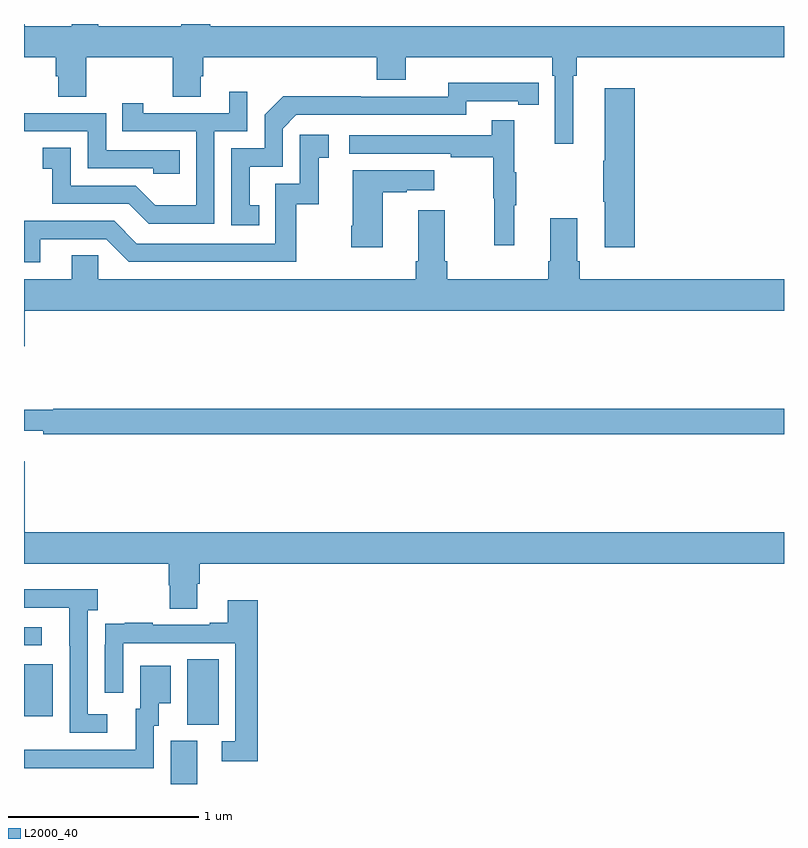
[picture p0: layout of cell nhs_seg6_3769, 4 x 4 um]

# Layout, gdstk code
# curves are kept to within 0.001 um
import gdstk
lib = gdstk.Library(unit=1e-6, precision=1e-09)
def R(c, l, rs):  # rectangles x0, y0, x1, y1
    for r in rs: c.add(gdstk.rectangle(r[:2], r[2:], *l))
def P(c, l, *ps):  # polygons
    for p in ps: c.add(gdstk.Polygon(p, *l))
L2000_40 = (2000, 40)

nhs_seg6_3769 = lib.new_cell('nhs_seg6_3769')
R(nhs_seg6_3769, L2000_40, [(333.773,955.5,333.913,955.728), (333.86,955.813,334.024,956.156), (333,955.857,333.151,956.131), (333,956.229,333.094,956.325)])
P(nhs_seg6_3769, L2000_40, [(335.89,959.228),(335.909,959.228),(335.909,959.324),(337,959.324),(337,959.488),(333.98,959.488),(333.98,959.5),(333.827,959.5),(333.827,959.488),(333.391,959.488),(333.391,959.5),(333.251,959.5),(333.251,959.488),(333.004,959.488),(333.004,959.5),(333,959.5),(333,959.324),(333.167,959.324),(333.167,959.226),(333.179,959.226),(333.179,959.116),(333.327,959.116),(333.327,959.324),(333.784,959.324),(333.784,959.116),(333.931,959.116),(333.931,959.226),(333.944,959.226),(333.944,959.324),(334.856,959.324),(334.856,959.207),(335.008,959.207),(335.008,959.324),(335.78,959.324),(335.78,959.228),(335.793,959.228),(335.793,958.869),(335.89,958.869)],
  [(334.238,958.545),(334.189,958.545),(334.189,958.749),(334.362,958.749),(334.362,958.95),(334.434,959.022),(335.328,959.022),(335.328,959.094),(335.6,959.094),(335.6,959.074),(335.708,959.074),(335.708,959.19),(335.232,959.191),(335.232,959.118),(334.772,959.118),(334.772,959.12),(334.364,959.12),(334.266,959.022),(334.266,958.845),(334.092,958.845),(334.092,958.44),(334.238,958.44)],
  [(336.215,959.161),(336.056,959.161),(336.056,958.781),(336.049,958.781),(336.049,958.564),(336.056,958.564),(336.056,958.326),(336.215,958.326)],
  [(334.002,958.935),(334.176,958.935),(334.176,959.143),(334.079,959.143),(334.079,959.031),(333.628,959.031),(333.628,959.083),(333.517,959.083),(333.517,958.935),(333.906,958.935),(333.906,958.546),(333.692,958.546),(333.588,958.65),(333.246,958.65),(333.246,958.849),(333.099,958.849),(333.099,958.739),(333.148,958.739),(333.148,958.554),(333.551,958.554),(333.656,958.449),(334.002,958.449)],
  [(333.821,958.836),(333.432,958.836),(333.432,959.031),(333,959.031),(333,958.935),(333.336,958.935),(333.336,958.74),(333.681,958.74),(333.681,958.713),(333.821,958.713)],
  [(335.579,958.547),(335.59,958.547),(335.59,958.721),(335.579,958.721),(335.579,958.993),(335.461,958.993),(335.461,958.914),(334.713,958.914),(334.713,958.818),(335.245,958.818),(335.245,958.798),(335.469,958.798),(335.469,958.584),(335.476,958.584),(335.476,958.335),(335.579,958.335)],
  [(333.085,958.368),(333.432,958.368),(333.552,958.248),(334.432,958.248),(334.432,958.551),(334.55,958.551),(334.55,958.797),(334.603,958.797),(334.603,958.918),(334.452,958.918),(334.452,958.659),(334.323,958.659),(334.323,958.344),(333.594,958.344),(333.474,958.464),(333,958.464),(333,958.245),(333.085,958.245)],
  [(334.888,958.615),(335.015,958.615),(335.015,958.625),(335.158,958.625),(335.158,958.729),(334.73,958.729),(334.73,958.438),(334.723,958.438),(334.723,958.326),(334.888,958.326)],
  [(333.004,957.992),(337,957.992),(337,958.156),(335.924,958.156),(335.924,958.252),(335.911,958.252),(335.911,958.477),(335.771,958.477),(335.771,958.252),(335.759,958.252),(335.759,958.156),(335.228,958.156),(335.228,958.252),(335.215,958.252),(335.215,958.519),(335.075,958.519),(335.075,958.252),(335.063,958.252),(335.063,958.156),(333.39,958.156),(333.39,958.283),(333.251,958.283),(333.251,958.156),(333,958.156),(333,957.804),(333.004,957.804)],
  [(337,957.476),(333.155,957.476),(333.155,957.469),(333,957.469),(333,957.359),(333.1,957.359),(333.1,957.34),(337,957.34)],
  [(333.004,957.199),(333,957.199),(333,956.66),(333.761,956.66),(333.761,956.547),(333.766,956.547),(333.766,956.422),(333.913,956.422),(333.913,956.554),(333.926,956.554),(333.926,956.66),(337,956.66),(337,956.824),(333.004,956.824)],
  [(333.439,955.866),(333.336,955.866),(333.336,956.414),(333.388,956.414),(333.388,956.524),(333,956.524),(333,956.427),(333.239,956.427),(333.239,956.227),(333.24,956.227),(333.24,955.77),(333.439,955.77)],
  [(334.229,956.467),(334.073,956.467),(334.073,956.35),(333.977,956.35),(333.977,956.337),(333.677,956.337),(333.677,956.35),(333.529,956.35),(333.529,956.343),(333.427,956.343),(333.427,956.234),(333.426,956.234),(333.426,955.98),(333.522,955.98),(333.522,956.241),(334.113,956.241),(334.113,955.725),(334.041,955.725),(334.041,955.62),(334.229,955.62)],
  [(333.684,955.806),(333.709,955.806),(333.709,955.925),(333.772,955.925),(333.772,956.122),(333.611,956.122),(333.611,955.896),(333.587,955.896),(333.587,955.68),(333.103,955.68),(333.103,955.681),(333,955.681),(333,955.584),(333.684,955.584)])

lib.write_gds('nhs_seg6_3769.gds')
